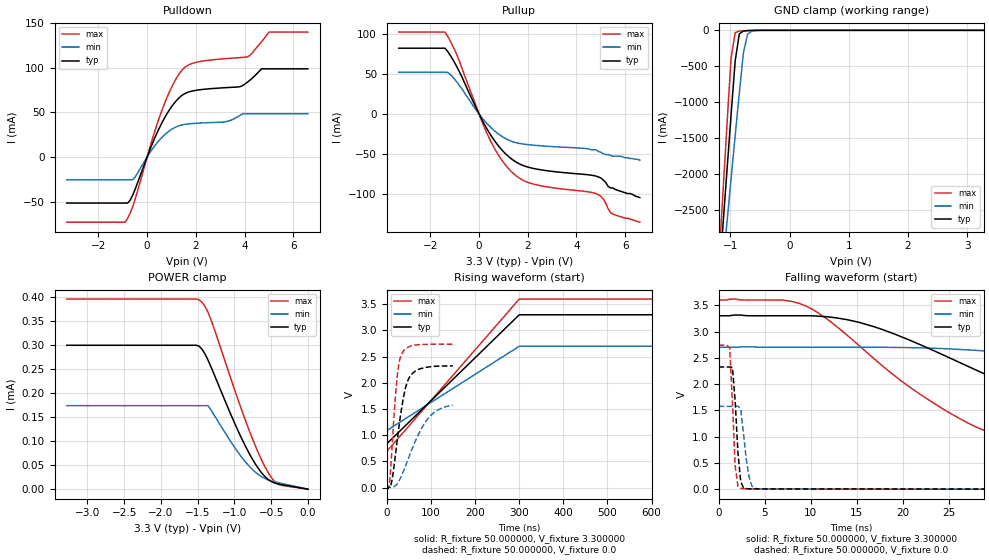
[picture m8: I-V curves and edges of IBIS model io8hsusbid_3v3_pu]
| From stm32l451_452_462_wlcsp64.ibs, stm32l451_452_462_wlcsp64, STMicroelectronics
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|   Model io8hsusbid_3v3_pu
[Model]  io8hsusbid_3v3_pu
Model_type I/O
Polarity   Non-Inverting
Enable   Active-Low
Vinl =   0.990000V
Vinh =   2.310000V
Vmeas =  1.650000V
Cref =   100.000000nF
Rref =   1.000000k
Vref =   3.300000V
C_comp   2.116400pF   2.092700pF   2.152900pF
[Temperature Range]   25.000000   0.125000k   -40.000000
[Pullup Reference]   3.300000V   2.700000V   3.600000V
[Pulldown Reference]   0.0V   0.0V   0.0V
[POWER Clamp Reference]   3.300000V   2.700000V   3.600000V
[GND Clamp Reference]   0.0V   0.0V   0.0V
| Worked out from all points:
|   slope of the pulldown table from 0 to 0.495 V, typ, clamps not added: 15.4 ohm
|   slope of the pullup table from 0 to 0.495 V, typ, clamps not added: 18.1 ohm
|   GND clamp passes 1 mA (typ) near -0.59 V on its own axis
|   rising waveform, R_fixture 50.000000, V_fixture 3.300000: 20-80 % time 180ns typ, 180ns min, 180ns max; typ from 0.836 V to 3.3 V
|   rising waveform, R_fixture 50.000000, V_fixture 0.0: 20-80 % time 23.9ns typ, 50.4ns min, 14.3ns max; typ from 0.001 V to 2.33 V
|   falling waveform, R_fixture 50.000000, V_fixture 3.300000: 20-80 % time 21ns typ, 41.6ns min, 13.6ns max; typ from 3.3 V to 0.836 V
|   falling waveform, R_fixture 50.000000, V_fixture 0.0: 20-80 % time 510ps typ, 662ps min, 429ps max; typ from 2.33 V to 0.001 V
[Pulldown]
|Voltage   I(typ)   I(min)   I(max)
-3.3V     -51.63mA   -25.53mA   -73.04mA
-900mV    -51.63mA   -25.53mA   -73.04mA
-500mV    -36.51mA   -22.79mA   -47.71mA
200mV     14.02mA    8.316mA    18.9mA
700mV     42.98mA    24.4mA     58.9mA
1.2V      63.06mA    33.8mA     88.14mA
1.6V      71.63mA    36.67mA    101.4mA
3.2V      77.51mA    39.29mA    110mA
4.1V      83.28mA    48.38mA    112mA
4.7V      98.63mA    48.38mA    129mA
5V        98.63mA    48.38mA    139.8mA
6.6V      98.63mA    48.43mA    139.8mA
[Pullup]
|Voltage   I(typ)   I(min)   I(max)
-3.3V     82.69mA    52.35mA    102.9mA
-1.4V     82.69mA    52.35mA    102.9mA
-900mV    58.56mA    39.63mA    73.37mA
100mV     -6.166mA   -3.962mA   -8.038mA
500mV     -27.53mA   -17.49mA   -35.6mA
1V        -47.29mA   -29.37mA   -60.81mA
1.5V      -60.05mA   -35.95mA   -77.15mA
2.4V      -69.45mA   -39.66mA   -89.34mA
4.8V      -78.1mA    -45mA      -100.1mA
5.1V      -83mA      -50mA      -106.7mA
5.5V      -93mA      -53mA      -126mA
6.6V      -105mA     -58mA      -136mA
[GND_clamp]
|Voltage   I(typ)   I(min)   I(max)
-3.3V     -9.914A    -9.595A    -9.188A
-1.2V     -3.541A    -3.911A    -3.279A
-1.13V    -2.75A     -3.295A    -2.301A
-1.06V    -1.963A    -2.68A     -1.33A
-990mV    -1.183A    -2.069A    -386.7mA
-920mV    -424.7mA   -1.463A    -31.42mA
-850mV    -49.12mA   -868.7mA   -10.48mA
-780mV    -9.121mA   -308.3mA   -6.715mA
-710mV    -3.648mA   -53.81mA   -3.986mA
-640mV    -1.726mA   -11.03mA   -1.885mA
-430mV    -22.46uA   -116.8uA   -9.748uA
3.28V     0A         0A         0A
[POWER_clamp]
|Voltage   I(typ)   I(min)   I(max)
-3.28V    299.3uA    173.7uA    395.4uA
-1.48V    297.5uA    173.7uA    393.9uA
-1.4V     281.3uA    173.7uA    380.3uA
-1.36V    268.9uA    173.7uA    368.3uA
-1.32V    255uA      164.8uA    353.1uA
-1.04V    152.4uA    96.77uA    226.2uA
-880mV    98.76uA    62.4uA     155.8uA
-720mV    53.77uA    36.12uA    92.05uA
-560mV    22.58uA    20.52uA    39.82uA
-480mV    14.4uA     16.42uA    20.64uA
-400mV    10.72uA    13.39uA    9.937uA
0V        0A         0A         0A
[Ramp]
| variable   typ   min   max
dV/dt_r  1.39450/23.89300n   0.94482/53.26837n   1.64288/14.28860n
dV/dt_f  1.47839/21.08553n   0.96684/44.67589n   1.74562/13.58476n
R_load = 50.000000
[Rising Waveform]
R_fixture= 50.000000
V_fixture= 3.300000
V_fixture_min= 2.700000
V_fixture_max= 3.600000
|time   V(typ)   V(min)   V(max)
0s        836mV      1.089V     690.6mV
300.3ns   3.3V       2.7V       3.6V
600.6ns   3.3V       2.7V       3.6V
29.73us   3.3V       2.7V       3.6V
[Rising Waveform]
R_fixture= 50.000000
V_fixture= 0.0
V_fixture_min= 0.0
V_fixture_max= 0.0
|time   V(typ)   V(min)   V(max)
0s        930.6uV    1.396mV    659.7uV
6.306ns   6.834mV    4.435mV    85.97mV
12.01ns   145.3mV    6.612mV    751.6mV
22.52ns   810mV      61.69mV    2.008V
28.23ns   1.193V     135.3mV    2.392V
33.03ns   1.476V     218.3mV    2.533V
43.54ns   1.934V     434.4mV    2.654V
58.56ns   2.183V     760.6mV    2.713V
97.3ns    2.307V     1.358V     2.737V
149.5ns   2.325V     1.576V     2.739V
[Falling Waveform]
R_fixture= 50.000000
V_fixture= 3.300000
V_fixture_min= 2.700000
V_fixture_max= 3.600000
|time   V(typ)   V(min)   V(max)
0s        3.3V       2.7V       3.6V
9.61ns    3.3V       2.7V       3.476V
15.32ns   3.173V     2.7V       2.726V
24.62ns   2.538V     2.673V     1.504V
29.13ns   2.177V     2.627V     1.101V
33.93ns   1.823V     2.554V     903.7mV
44.44ns   1.231V     2.33V      781mV
54.65ns   1.023V     2.075V     737.6mV
90.99ns   869.5mV    1.322V     697.4mV
149.5ns   836mV      1.089V     690.6mV
[Falling Waveform]
R_fixture= 50.000000
V_fixture= 0.0
V_fixture_min= 0.0
V_fixture_max= 0.0
|time   V(typ)   V(min)   V(max)
0s        2.325V     1.576V     2.739V
1.201ns   2.325V     1.576V     2.692V
1.502ns   2.318V     1.576V     1.659V
1.802ns   1.678V     1.576V     443.8mV
2.102ns   691.5mV    1.582V     54.51mV
2.402ns   146mV      1.527V     14.34mV
2.703ns   25.89mV    1.064V     8.518mV
3.604ns   6.757mV    66.36mV    5.733mV
4.505ns   5.615mV    6.846mV    5.077mV
149.5ns   930.6uV    1.396mV    659.7uV
